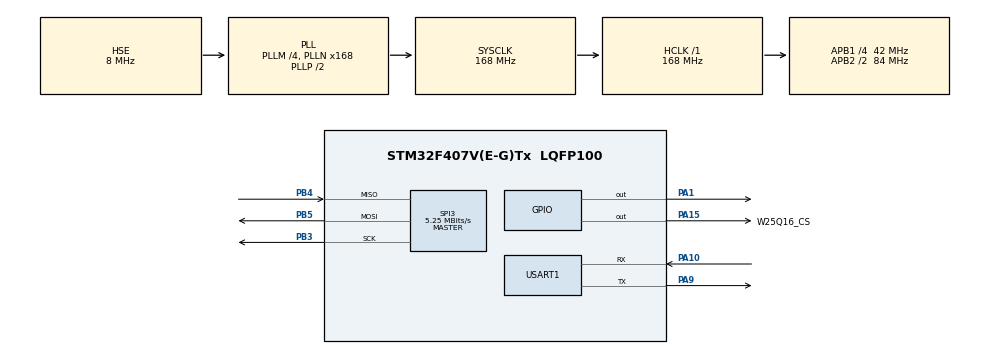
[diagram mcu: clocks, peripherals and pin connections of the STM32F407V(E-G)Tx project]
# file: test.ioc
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Mcu.Family=STM32F4
Mcu.Name=STM32F407V(E-G)Tx
Mcu.Package=LQFP100
NVIC.PriorityGroup=NVIC_PRIORITYGROUP_4
PA1.PinState=GPIO_PIN_SET
PA1.Signal=GPIO_Output
PA10.Mode=Asynchronous
PA10.Signal=USART1_RX
PA13.Mode=Serial_Wire
PA13.Signal=SYS_JTMS-SWDIO
PA14.Mode=Serial_Wire
PA14.Signal=SYS_JTCK-SWCLK
PA15.GPIO_Label=W25Q16_CS
PA15.GPIO_PuPd=GPIO_PULLUP
PA15.GPIO_Speed=GPIO_SPEED_FREQ_VERY_HIGH
PA15.PinState=GPIO_PIN_SET
PA15.Signal=GPIO_Output
PA9.Mode=Asynchronous
PA9.Signal=USART1_TX
PB3.Mode=Full_Duplex_Master
PB3.Signal=SPI3_SCK
PB4.Mode=Full_Duplex_Master
PB4.Signal=SPI3_MISO
PB5.Mode=Full_Duplex_Master
PB5.Signal=SPI3_MOSI
PH0-OSC_IN.Mode=HSE-External-Oscillator
PH0-OSC_IN.Signal=RCC_OSC_IN
PH1-OSC_OUT.Mode=HSE-External-Oscillator
PH1-OSC_OUT.Signal=RCC_OSC_OUT
ProjectManager.HeapSize=0x200
ProjectManager.StackSize=0x400
ProjectManager.TargetToolchain=MDK-ARM V5.32
RCC.48MHZClocksFreq_Value=84000000
RCC.AHBFreq_Value=168000000
RCC.APB1CLKDivider=RCC_HCLK_DIV4
RCC.APB1Freq_Value=42000000
RCC.APB1TimFreq_Value=84000000
RCC.APB2CLKDivider=RCC_HCLK_DIV2
RCC.APB2Freq_Value=84000000
RCC.APB2TimFreq_Value=168000000
RCC.CortexFreq_Value=168000000
RCC.HCLKFreq_Value=168000000
RCC.HSE_VALUE=8000000
RCC.HSI_VALUE=16000000
RCC.LSE_VALUE=32768
RCC.PLLM=4
RCC.PLLN=168
RCC.PLLSourceVirtual=RCC_PLLSOURCE_HSE
RCC.SYSCLKFreq_VALUE=168000000
RCC.SYSCLKSource=RCC_SYSCLKSOURCE_PLLCLK
RCC.VCOOutputFreq_Value=336000000
SPI3.BaudRatePrescaler=SPI_BAUDRATEPRESCALER_8
SPI3.CalculateBaudRate=5.25 MBits/s
SPI3.Direction=SPI_DIRECTION_2LINES
SPI3.Mode=SPI_MODE_MASTER
SPI3.VirtualType=VM_MASTER
USART1.VirtualMode=VM_ASYNC
board=custom

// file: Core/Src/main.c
/* USER CODE BEGIN Header */
/**
  ******************************************************************************
  * @file           : main.c
  * @brief          : Main program body
  ******************************************************************************
  * @attention
  *
  * Copyright (c) 2026 STMicroelectronics.
  * All rights reserved.
  *
  * This software is licensed under terms that can be found in the LICENSE file
  * in the root directory of this software component.
  * If no LICENSE file comes with this software, it is provided AS-IS.
  *
  ******************************************************************************
  */
/* USER CODE END Header */
#include "main.h"
#include "spi.h"
#include "usart.h"
#include "gpio.h"

/* USER CODE BEGIN Includes */
#include "w25q16.h"
/* USER CODE END Includes */

/* USER CODE BEGIN PD */
#define LED_Pin GPIO_PIN_1
#define LED_GPIO_Port GPIOA
/* USER CODE END PD */

/* USER CODE BEGIN PV */
static uint8_t erase_done = 0;
/* USER CODE END PV */

void SystemClock_Config(void);

int main(void)
{

  /* MCU Configuration--------------------------------------------------------*/

  /* Reset of all peripherals, Initializes the Flash interface and the Systick. */
  HAL_Init();

  /* Configure the system clock */
  SystemClock_Config();

  /* Initialize all configured peripherals */
  MX_GPIO_Init();
  MX_SPI3_Init();
  MX_USART1_UART_Init();
  /* USER CODE BEGIN 2 */

  USART1_Printf("\r\n=== W25Q16 Erase Tool ===\r\n");

  /* 初始化 W25Q16 */
  w25q16_init();

  /* 读取 JEDEC ID, 确认芯片连接正常 */
  uint32_t id = w25q16_read_jedec_id();
  USART1_Printf("JEDEC ID: 0x%06lX\r\n", (unsigned long)id);

  /* 擦除整个 W26Q16 芯片 */
  USART1_Printf("Erasing chip...\r\n");
  w25q16_erase_chip();

  /* 等待擦除完成 */
  USART1_Printf("Erase done!\r\n");
  USART1_Printf("You can now flash your OTA firmware.\r\n");

  /* 标记擦除完成 */
  erase_done = 1;

  /* USER CODE END 2 */

  /* Infinite loop */
  while (1)
  {

    /* USER CODE BEGIN 3 */
    HAL_GPIO_TogglePin(LED_GPIO_Port, LED_Pin);

    if (erase_done)
    {
      /* 擦除完成，慢闪烁（1秒） */
      HAL_Delay(1000);
    }
    else
    {
      /* 正在擦除，快闪烁（100ms） */
      HAL_Delay(100);
    }
    /* USER CODE BEGIN 3 */
  }
  /* USER CODE END 3 */
}

void SystemClock_Config(void)
{
  RCC_OscInitTypeDef RCC_OscInitStruct = {0};
  RCC_ClkInitTypeDef RCC_ClkInitStruct = {0};

  /** Configure the main internal regulator output voltage
  */
  __HAL_RCC_PWR_CLK_ENABLE();
  __HAL_PWR_VOLTAGESCALING_CONFIG(PWR_REGULATOR_VOLTAGE_SCALE1);

  /** Initializes the RCC Oscillators according to the specified parameters
  * in the RCC_OscInitTypeDef structure.
  */
  RCC_OscInitStruct.OscillatorType = RCC_OSCILLATORTYPE_HSE;
  RCC_OscInitStruct.HSEState = RCC_HSE_ON;
  RCC_OscInitStruct.PLL.PLLState = RCC_PLL_ON;
  RCC_OscInitStruct.PLL.PLLSource = RCC_PLLSOURCE_HSE;
  RCC_OscInitStruct.PLL.PLLM = 4;
  RCC_OscInitStruct.PLL.PLLN = 168;
  RCC_OscInitStruct.PLL.PLLP = RCC_PLLP_DIV2;
  RCC_OscInitStruct.PLL.PLLQ = 4;
  if (HAL_RCC_OscConfig(&RCC_OscInitStruct) != HAL_OK)
  {
    Error_Handler();
  }

  /** Initializes the CPU, AHB and APB buses clocks
  */
  RCC_ClkInitStruct.ClockType = RCC_CLOCKTYPE_HCLK|RCC_CLOCKTYPE_SYSCLK
                              |RCC_CLOCKTYPE_PCLK1|RCC_CLOCKTYPE_PCLK2;
  RCC_ClkInitStruct.SYSCLKSource = RCC_SYSCLKSOURCE_PLLCLK;
  RCC_ClkInitStruct.AHBCLKDivider = RCC_SYSCLK_DIV1;
  RCC_ClkInitStruct.APB1CLKDivider = RCC_HCLK_DIV4;
  RCC_ClkInitStruct.APB2CLKDivider = RCC_HCLK_DIV2;

  if (HAL_RCC_ClockConfig(&RCC_ClkInitStruct, FLASH_LATENCY_5) != HAL_OK)
  {
    Error_Handler();
  }
}

void Error_Handler(void)
{
  __disable_irq();
  while (1)
  {
  }
}
